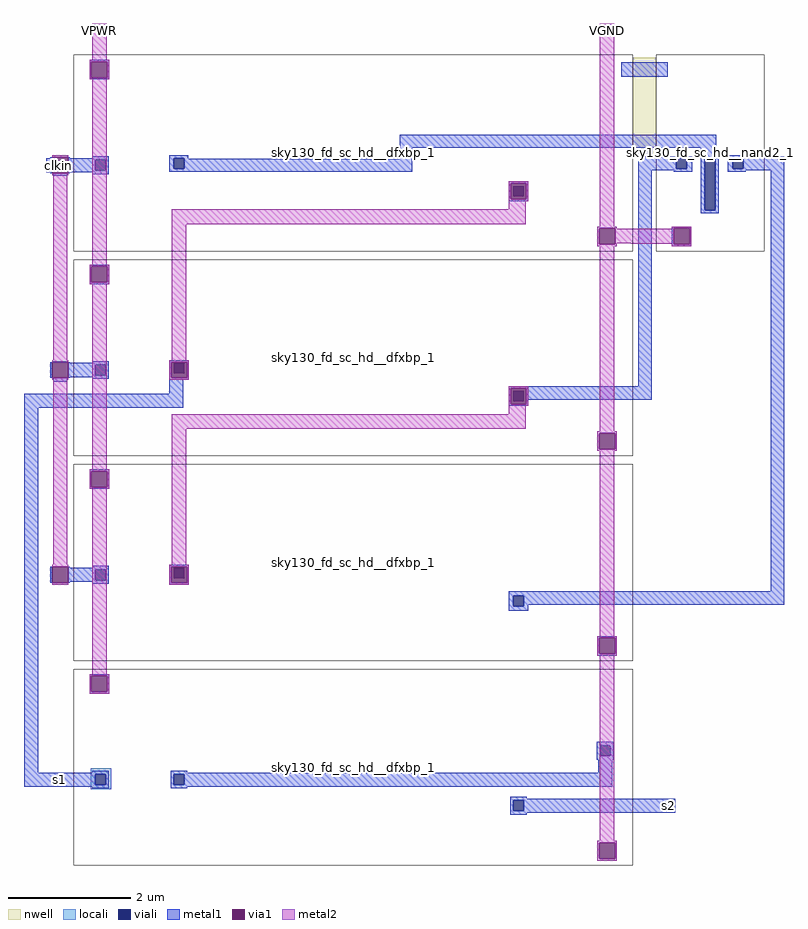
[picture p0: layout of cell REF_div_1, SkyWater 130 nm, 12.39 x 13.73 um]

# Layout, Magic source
magic
tech sky130A
magscale 1 2
<< nwell >>
rect 1786 261 1862 582
<< locali >>
rect 18 -1755 84 -1735
rect 18 -1789 32 -1755
rect 66 -1789 84 -1755
rect 18 -1803 84 -1789
<< viali >>
rect 32 215 66 249
rect 289 221 323 255
rect 1928 220 1962 254
rect 1396 130 1430 164
rect 2020 85 2054 255
rect 2112 221 2146 255
rect 32 -453 66 -419
rect 289 -447 323 -413
rect 1396 -538 1430 -504
rect 32 -1121 66 -1087
rect 289 -1115 323 -1081
rect 1396 -1206 1430 -1172
rect 1679 -1695 1713 -1661
rect 32 -1789 66 -1755
rect 289 -1789 323 -1755
rect 1396 -1874 1430 -1840
<< metal1 >>
rect 14 570 78 576
rect 14 518 20 570
rect 72 518 78 570
rect 1748 520 1900 568
rect 14 512 78 518
rect 1025 289 2058 331
rect -114 255 -108 258
rect -127 209 -108 255
rect -114 206 -108 209
rect -56 255 -50 258
rect 22 255 76 261
rect -56 249 76 255
rect -56 215 32 249
rect 66 215 76 249
rect -56 209 76 215
rect 274 255 335 264
rect 274 221 289 255
rect 323 253 335 255
rect 1025 253 1067 289
rect 2008 267 2058 289
rect 323 221 1067 253
rect 274 211 1067 221
rect 1804 254 1979 260
rect 1804 220 1928 254
rect 1962 220 1979 254
rect 1804 216 1979 220
rect -56 206 -50 209
rect -105 198 -59 206
rect 22 203 76 209
rect 1381 173 1445 179
rect 1381 121 1387 173
rect 1439 121 1445 173
rect 1381 115 1445 121
rect 14 -98 78 -92
rect 14 -150 20 -98
rect 72 -150 78 -98
rect 14 -156 78 -150
rect -105 -410 -59 -408
rect -114 -462 -108 -410
rect -56 -413 -50 -410
rect 22 -413 76 -407
rect -56 -419 76 -413
rect -56 -453 32 -419
rect 66 -453 76 -419
rect -56 -459 76 -453
rect -56 -462 -50 -459
rect -105 -474 -59 -462
rect 22 -465 76 -459
rect 274 -410 338 -404
rect 274 -462 280 -410
rect 332 -462 338 -410
rect 274 -468 338 -462
rect 274 -513 320 -468
rect 1804 -489 1848 216
rect 1919 211 1979 216
rect 2008 255 2066 267
rect 2008 85 2020 255
rect 2054 85 2066 255
rect 2095 260 2155 264
rect 2095 255 2279 260
rect 2095 221 2112 255
rect 2146 221 2279 255
rect 2095 216 2279 221
rect 2095 211 2155 216
rect 2008 76 2066 85
rect 1913 26 1977 32
rect 1913 -26 1919 26
rect 1971 -26 1977 26
rect 1913 -32 1977 -26
rect 1387 -495 1848 -489
rect -200 -559 320 -513
rect 1381 -547 1387 -496
rect 1439 -533 1848 -495
rect 1439 -547 1445 -533
rect 1381 -553 1445 -547
rect -200 -1749 -154 -559
rect 14 -766 78 -760
rect 14 -818 20 -766
rect 72 -818 78 -766
rect 14 -824 78 -818
rect -114 -1130 -108 -1078
rect -56 -1081 -50 -1078
rect 22 -1081 76 -1075
rect -56 -1087 76 -1081
rect -56 -1121 32 -1087
rect 66 -1121 76 -1087
rect -56 -1127 76 -1121
rect -56 -1130 -50 -1127
rect 22 -1133 76 -1127
rect 274 -1078 338 -1072
rect 274 -1130 280 -1078
rect 332 -1130 338 -1078
rect 274 -1136 338 -1130
rect 2235 -1157 2279 216
rect 1381 -1172 2279 -1157
rect 1381 -1206 1396 -1172
rect 1430 -1201 2279 -1172
rect 1430 -1206 1445 -1201
rect 1381 -1221 1445 -1206
rect 1670 -1310 1734 -1304
rect 1670 -1362 1676 -1310
rect 1728 -1362 1734 -1310
rect 1670 -1368 1734 -1362
rect 14 -1434 78 -1428
rect 14 -1486 20 -1434
rect 72 -1486 78 -1434
rect 14 -1492 78 -1486
rect 1669 -1661 1723 -1649
rect 1669 -1695 1679 -1661
rect 1713 -1695 1723 -1661
rect 1669 -1707 1723 -1695
rect 22 -1749 76 -1743
rect -200 -1755 76 -1749
rect -200 -1789 32 -1755
rect 66 -1789 76 -1755
rect -200 -1795 76 -1789
rect 22 -1801 76 -1795
rect 279 -1749 333 -1743
rect 1673 -1749 1719 -1707
rect 279 -1755 1719 -1749
rect 279 -1789 289 -1755
rect 323 -1789 1719 -1755
rect 279 -1794 1719 -1789
rect 279 -1795 1718 -1794
rect 279 -1801 333 -1795
rect 1386 -1834 1440 -1828
rect 1386 -1840 1925 -1834
rect 1386 -1874 1396 -1840
rect 1430 -1874 1925 -1840
rect 1386 -1880 1925 -1874
rect 1386 -1886 1440 -1880
<< via1 >>
rect 20 518 72 570
rect -108 206 -56 258
rect 1387 164 1439 173
rect 1387 130 1396 164
rect 1396 130 1430 164
rect 1430 130 1439 164
rect 1387 121 1439 130
rect 1676 -26 1728 26
rect 20 -150 72 -98
rect -108 -462 -56 -410
rect 280 -413 332 -410
rect 280 -447 289 -413
rect 289 -447 323 -413
rect 323 -447 332 -413
rect 280 -462 332 -447
rect 1919 -26 1971 26
rect 1387 -504 1439 -495
rect 1387 -538 1396 -504
rect 1396 -538 1430 -504
rect 1430 -538 1439 -504
rect 1387 -547 1439 -538
rect 1676 -694 1728 -642
rect 20 -818 72 -766
rect -108 -1130 -56 -1078
rect 280 -1081 332 -1078
rect 280 -1115 289 -1081
rect 289 -1115 323 -1081
rect 323 -1115 332 -1081
rect 280 -1130 332 -1115
rect 1676 -1362 1728 -1310
rect 20 -1486 72 -1434
rect 1676 -2030 1728 -1978
<< metal2 >>
rect 22 576 70 694
rect 14 570 78 576
rect 14 518 20 570
rect 72 518 78 570
rect 14 512 78 518
rect -108 258 -56 264
rect -108 200 -56 206
rect -105 -404 -59 200
rect 22 -92 70 512
rect 1381 173 1445 179
rect 1381 121 1387 173
rect 1439 121 1445 173
rect 1381 115 1445 121
rect 1381 88 1437 115
rect 282 40 1437 88
rect 14 -98 78 -92
rect 14 -150 20 -98
rect 72 -150 78 -98
rect 14 -156 78 -150
rect -108 -410 -56 -404
rect -108 -468 -56 -462
rect -105 -1072 -59 -468
rect 22 -760 70 -156
rect 282 -404 330 40
rect 1678 32 1726 694
rect 1670 26 1734 32
rect 1670 -26 1676 26
rect 1728 25 1734 26
rect 1913 26 1977 32
rect 1728 24 1781 25
rect 1913 24 1919 26
rect 1728 -23 1919 24
rect 1728 -26 1734 -23
rect 1781 -24 1919 -23
rect 1670 -32 1734 -26
rect 1913 -26 1919 -24
rect 1971 -26 1977 26
rect 1913 -32 1977 -26
rect 274 -410 338 -404
rect 274 -462 280 -410
rect 332 -462 338 -410
rect 274 -468 338 -462
rect 1381 -495 1445 -489
rect 1381 -547 1387 -495
rect 1439 -547 1445 -495
rect 1381 -553 1445 -547
rect 1381 -580 1437 -553
rect 282 -628 1437 -580
rect 14 -766 78 -760
rect 14 -818 20 -766
rect 72 -818 78 -766
rect 14 -824 78 -818
rect -108 -1078 -56 -1072
rect -108 -1136 -56 -1130
rect 22 -1428 70 -824
rect 282 -1072 330 -628
rect 1678 -636 1726 -32
rect 1670 -642 1734 -636
rect 1670 -694 1676 -642
rect 1728 -694 1734 -642
rect 1670 -700 1734 -694
rect 274 -1078 338 -1072
rect 274 -1130 280 -1078
rect 332 -1130 338 -1078
rect 274 -1136 338 -1130
rect 1678 -1304 1726 -700
rect 1670 -1310 1734 -1304
rect 1670 -1362 1676 -1310
rect 1728 -1362 1734 -1310
rect 1670 -1368 1734 -1362
rect 14 -1434 78 -1428
rect 14 -1486 20 -1434
rect 72 -1486 78 -1434
rect 14 -1492 78 -1486
rect 1678 -1972 1726 -1368
rect 1670 -1978 1734 -1972
rect 1670 -2030 1676 -1978
rect 1728 -2030 1734 -1978
rect 1670 -2036 1734 -2030
use sky130_fd_sc_hd__dfxbp_1  sky130_fd_sc_hd__dfxbp_1_0 pdk/sky130A/libs.ref/sky130_fd_sc_hd/mag
transform 1 0 0 0 1 0
box -38 -48 1786 592
use sky130_fd_sc_hd__dfxbp_1  sky130_fd_sc_hd__dfxbp_1_1
transform 1 0 0 0 1 -668
box -38 -48 1786 592
use sky130_fd_sc_hd__dfxbp_1  sky130_fd_sc_hd__dfxbp_1_2
transform 1 0 0 0 1 -1336
box -38 -48 1786 592
use sky130_fd_sc_hd__dfxbp_1  sky130_fd_sc_hd__dfxbp_1_3
transform 1 0 0 0 1 -2004
box -38 -48 1786 592
use sky130_fd_sc_hd__nand2_1  sky130_fd_sc_hd__nand2_1_0 pdk/sky130A/libs.ref/sky130_fd_sc_hd/mag
transform 1 0 1900 0 1 0
box -38 -48 314 592
<< labels >>
rlabel metal1 -127 209 -51 255 0 clkin
rlabel metal2 22 650 70 694 0 VPWR
rlabel metal2 1678 650 1726 694 6 VGND
rlabel metal1 -105 -1795 -61 -1749 5 s1
rlabel metal1 1881 -1880 1925 -1834 5 s2
<< end >>
